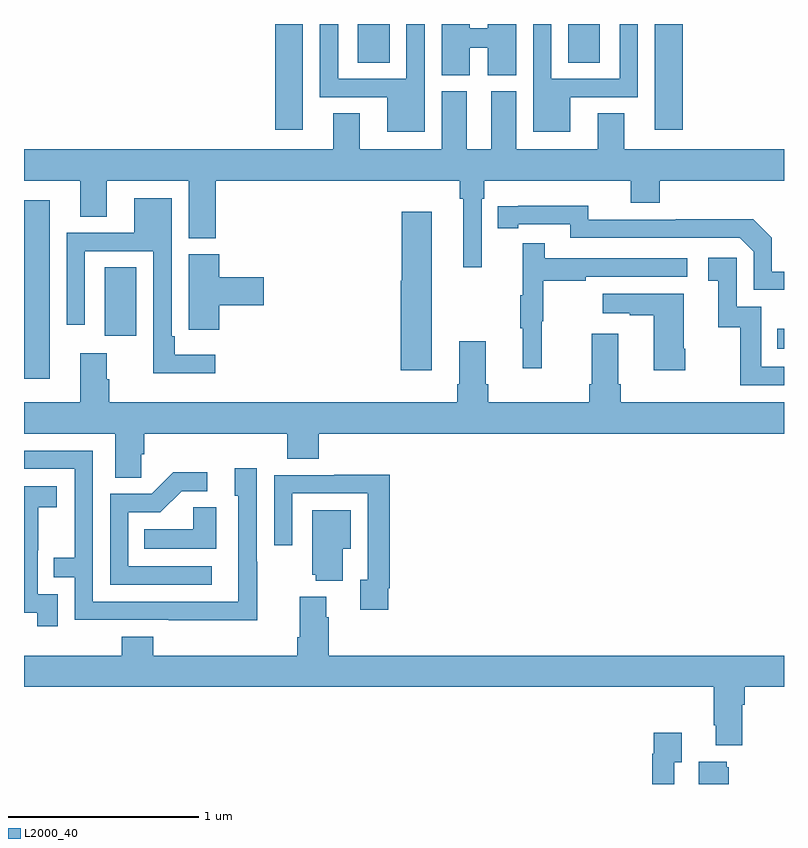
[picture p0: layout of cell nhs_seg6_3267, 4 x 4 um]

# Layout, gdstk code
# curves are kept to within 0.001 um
import gdstk
lib = gdstk.Library(unit=1e-6, precision=1e-09)
def R(c, l, rs):  # rectangles x0, y0, x1, y1
    for r in rs: c.add(gdstk.rectangle(r[:2], r[2:], *l))
def P(c, l, *ps):  # polygons
    for p in ps: c.add(gdstk.Polygon(p, *l))
L2000_40 = (2000, 40)

nhs_seg6_3267 = lib.new_cell('nhs_seg6_3267')
R(nhs_seg6_3267, L2000_40, [(303,939.633,303.136,940.573), (306.964,939.792,307,939.897), (303.425,939.858,303.592,940.22), (304.322,940.944,304.468,941.5), (306.32,940.944,306.467,941.5), (304.757,941.296,304.924,941.5), (305.864,941.296,306.031,941.5)])
P(nhs_seg6_3267, L2000_40, [(305.347,941.374),(305.441,941.374),(305.441,941.23),(305.59,941.23),(305.59,941.5),(305.441,941.5),(305.441,941.477),(305.347,941.477),(305.347,941.5),(305.198,941.5),(305.198,941.23),(305.347,941.23)],
  [(305.109,941.5),(305.013,941.5),(305.013,941.211),(304.653,941.211),(304.653,941.5),(304.557,941.5),(304.557,941.115),(304.913,941.115),(304.913,940.934),(305.109,940.934)],
  [(305.875,941.115),(306.231,941.115),(306.231,941.5),(306.135,941.5),(306.135,941.211),(305.775,941.211),(305.775,941.5),(305.679,941.5),(305.679,940.934),(305.875,940.934)],
  [(305.329,941.145),(305.198,941.145),(305.198,940.84),(304.768,940.84),(304.768,941.03),(304.628,941.03),(304.628,940.84),(303,940.84),(303,940.676),(303.296,940.676),(303.296,940.486),(303.436,940.486),(303.436,940.676),(303.866,940.676),(303.866,940.372),(304.01,940.372),(304.01,940.676),(305.293,940.676),(305.293,940.58),(305.312,940.58),(305.312,940.221),(305.409,940.221),(305.409,940.58),(305.423,940.58),(305.423,940.676),(306.194,940.676),(306.194,940.559),(306.347,940.559),(306.347,940.676),(307,940.676),(307,940.84),(306.16,940.84),(306.16,941.03),(306.02,941.03),(306.02,940.84),(305.59,940.84),(305.59,941.145),(305.459,941.145),(305.459,940.84),(305.329,940.84)],
  [(304.006,939.76),(303.793,939.76),(303.793,939.856),(303.777,939.856),(303.777,940.582),(303.581,940.582),(303.581,940.401),(303.225,940.401),(303.225,939.918),(303.321,939.918),(303.321,940.305),(303.681,940.305),(303.681,939.662),(304.006,939.662)],
  [(307,940.197),(306.936,940.197),(306.936,940.374),(306.838,940.472),(306.43,940.472),(306.43,940.47),(305.97,940.47),(305.97,940.543),(305.494,940.542),(305.494,940.426),(305.602,940.426),(305.602,940.446),(305.874,940.446),(305.874,940.374),(306.768,940.374),(306.84,940.302),(306.84,940.101),(307,940.101)],
  [(305.146,940.513),(304.988,940.513),(304.988,940.149),(304.982,940.149),(304.982,939.678),(305.146,939.678)],
  [(305.726,939.936),(305.734,939.936),(305.734,940.15),(305.957,940.15),(305.957,940.17),(306.49,940.17),(306.49,940.266),(305.741,940.266),(305.741,940.345),(305.624,940.345),(305.624,940.073),(305.613,940.073),(305.613,939.899),(305.624,939.899),(305.624,939.687),(305.726,939.687)],
  [(304.028,940.019),(304.261,940.019),(304.261,940.166),(304.028,940.166),(304.028,940.287),(303.866,940.287),(303.866,940.003),(303.867,940.003),(303.867,939.891),(304.028,939.891)],
  [(307,939.696),(306.879,939.696),(306.879,940.011),(306.75,940.011),(306.75,940.27),(306.6,940.27),(306.6,940.149),(306.653,940.149),(306.653,939.903),(306.771,939.903),(306.771,939.6),(307,939.6)],
  [(306.48,939.79),(306.472,939.79),(306.472,940.081),(306.045,940.081),(306.045,939.977),(306.188,939.977),(306.188,939.967),(306.314,939.967),(306.314,939.678),(306.48,939.678)],
  [(303.618,939.235),(303.632,939.235),(303.632,939.344),(304.385,939.344),(304.385,939.211),(304.55,939.211),(304.55,939.344),(307,939.344),(307,939.508),(306.14,939.508),(306.14,939.604),(306.127,939.604),(306.127,939.871),(305.987,939.871),(305.987,939.604),(305.975,939.604),(305.975,939.508),(305.444,939.508),(305.444,939.604),(305.431,939.604),(305.431,939.829),(305.291,939.829),(305.291,939.604),(305.279,939.604),(305.279,939.508),(303.449,939.508),(303.449,939.629),(303.436,939.629),(303.436,939.766),(303.296,939.766),(303.296,939.508),(303,939.508),(303,939.344),(303.479,939.344),(303.479,939.112),(303.618,939.112)],
  [(304.227,938.669),(304.224,938.669),(304.224,939.163),(304.109,939.163),(304.109,939.018),(304.128,939.018),(304.128,938.46),(303.363,938.46),(303.363,939.255),(303,939.255),(303,939.159),(303.267,939.159),(303.267,938.69),(303.157,938.69),(303.157,938.589),(303.267,938.589),(303.267,938.364),(303.763,938.364),(303.763,938.363),(304.227,938.363)],
  [(303.988,938.646),(303.549,938.646),(303.549,938.931),(303.718,938.931),(303.829,939.042),(303.964,939.042),(303.964,939.14),(303.785,939.14),(303.672,939.027),(303.453,939.027),(303.453,938.55),(303.988,938.55)],
  [(304.918,938.53),(304.925,938.53),(304.925,939.128),(304.633,939.128),(304.633,939.126),(304.317,939.126),(304.317,938.757),(304.413,938.757),(304.413,939.03),(304.809,939.03),(304.809,938.574),(304.769,938.574),(304.769,938.418),(304.918,938.418)],
  [(303.177,938.499),(303.072,938.499),(303.072,938.729),(303.074,938.729),(303.074,938.957),(303.172,938.957),(303.172,939.067),(303,939.067),(303,938.401),(303.069,938.401),(303.069,938.331),(303.177,938.331)],
  [(304.012,938.957),(303.891,938.957),(303.891,938.842),(303.634,938.842),(303.634,938.738),(304.012,938.738)],
  [(304.678,938.738),(304.72,938.738),(304.72,938.941),(304.517,938.941),(304.517,938.601),(304.535,938.601),(304.535,938.57),(304.678,938.57)],
  [(306.781,937.916),(306.794,937.916),(306.794,938.012),(307,938.012),(307,938.176),(304.604,938.176),(304.604,938.378),(304.591,938.378),(304.591,938.485),(304.451,938.485),(304.451,938.272),(304.439,938.272),(304.439,938.176),(303.68,938.176),(303.68,938.275),(303.515,938.275),(303.515,938.176),(303,938.176),(303,938.012),(306.629,938.012),(306.629,937.81),(306.641,937.81),(306.641,937.703),(306.781,937.703)],
  [(306.423,937.615),(306.463,937.615),(306.463,937.771),(306.315,937.771),(306.315,937.658),(306.307,937.658),(306.307,937.5),(306.423,937.5)],
  [(306.709,937.587),(306.698,937.587),(306.698,937.618),(306.551,937.618),(306.551,937.5),(306.709,937.5)])

lib.write_gds('nhs_seg6_3267.gds')
